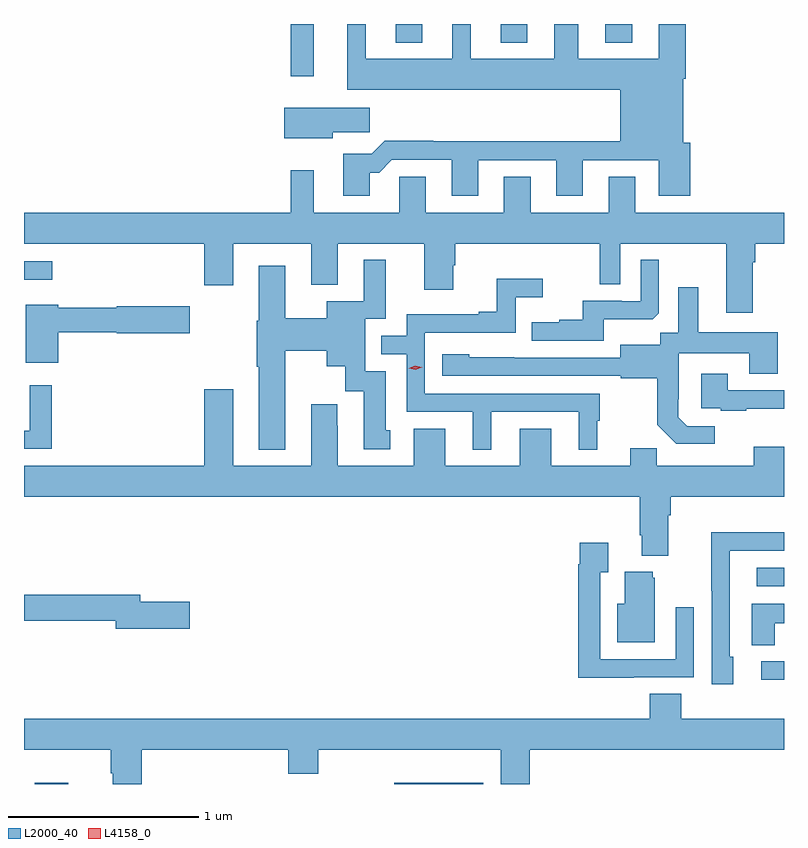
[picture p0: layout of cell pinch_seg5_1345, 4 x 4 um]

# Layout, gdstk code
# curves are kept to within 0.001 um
import gdstk
lib = gdstk.Library(unit=1e-6, precision=1e-09)
def R(c, l, rs):  # rectangles x0, y0, x1, y1
    for r in rs: c.add(gdstk.rectangle(r[:2], r[2:], *l))
def A(c, l, x, y, w, h, nx, ny, dx, dy):  # array of equal rectangles
    R(c, l, [(x+i*dx, y+j*dy, x+i*dx+w, y+j*dy+h) for i in range(nx) for j in range(ny)])
def P(c, l, *ps):  # polygons
    for p in ps: c.add(gdstk.Polygon(p, *l))
L2000_40 = (2000, 40)
L4158_0 = (4158, 0)

pinch_seg5_1345 = lib.new_cell('pinch_seg5_1345')
A(pinch_seg5_1345, L2000_40, 361.067, 903.107, 0.14, 0.098, 3, 1, 0.552, 0)
R(pinch_seg5_1345, L2000_40, [(359.168,899.205,359.344,899.212), (361.059,899.205,361.528,899.212), (362.991,899.753,363.111,899.85), (362.967,900.246,363.111,900.342), (359.111,901.859,359.26,901.956), (360.516,902.931,360.637,903.205)])
P(pinch_seg5_1345, L2000_40, [(360.931,902.423),(360.98,902.423),(361.047,902.49),(361.361,902.49),(361.361,902.301),(361.501,902.301),(361.501,902.487),(361.913,902.487),(361.913,902.301),(362.053,902.301),(362.053,902.487),(362.453,902.487),(362.453,902.301),(362.618,902.301),(362.618,902.58),(362.581,902.58),(362.581,902.918),(362.594,902.918),(362.594,903.205),(362.453,903.205),(362.453,903.022),(362.029,903.022),(362.029,903.205),(361.901,903.205),(361.901,903.022),(361.462,903.022),(361.462,903.205),(361.364,903.205),(361.364,903.022),(360.91,903.022),(360.91,903.205),(360.812,903.205),(360.812,902.858),(362.249,902.858),(362.249,902.588),(361.265,902.588),(361.265,902.591),(361.01,902.591),(360.94,902.521),(360.791,902.521),(360.791,902.301),(360.931,902.301)],
  [(360.736,902.635),(360.931,902.635),(360.931,902.764),(360.482,902.764),(360.482,902.603),(360.736,902.603)],
  [(360.623,901.832),(360.763,901.832),(360.763,902.048),(361.217,902.048),(361.217,901.806),(361.369,901.806),(361.369,901.935),(361.382,901.935),(361.382,902.048),(362.142,902.048),(362.142,901.834),(362.25,901.834),(362.25,902.048),(362.807,902.048),(362.807,901.686),(362.947,901.686),(362.947,901.952),(362.96,901.952),(362.96,902.048),(363.111,902.048),(363.111,902.212),(362.329,902.212),(362.329,902.402),(362.189,902.402),(362.189,902.212),(361.777,902.212),(361.777,902.402),(361.637,902.402),(361.637,902.212),(361.225,902.212),(361.225,902.402),(361.086,902.402),(361.086,902.212),(360.637,902.212),(360.637,902.434),(360.516,902.434),(360.516,902.212),(359.111,902.212),(359.111,902.048),(360.059,902.048),(360.059,901.83),(360.211,901.83),(360.211,902.048),(360.623,902.048)],
  [(360.487,901.484),(360.704,901.484),(360.704,901.403),(360.803,901.403),(360.803,901.272),(360.899,901.272),(360.899,900.966),(361.039,900.966),(361.039,901.068),(361.015,901.068),(361.015,901.377),(360.906,901.377),(360.906,901.653),(361.015,901.653),(361.015,901.963),(360.899,901.963),(360.899,901.747),(360.704,901.747),(360.704,901.656),(360.487,901.656),(360.487,901.933),(360.347,901.933),(360.347,901.644),(360.335,901.644),(360.335,901.4),(360.347,901.4),(360.347,900.965),(360.487,900.965)],
  [(362.161,901.652),(362.419,901.652),(362.451,901.683),(362.451,901.963),(362.358,901.963),(362.358,901.746),(362.258,901.746),(362.258,901.749),(362.051,901.749),(362.051,901.648),(361.927,901.648),(361.927,901.636),(361.783,901.636),(361.783,901.539),(362.161,901.539)],
  [(361.57,901.164),(362.03,901.164),(362.03,900.965),(362.128,900.965),(362.128,901.116),(362.14,901.116),(362.14,901.26),(361.221,901.26),(361.221,901.581),(361.698,901.581),(361.698,901.766),(361.84,901.766),(361.84,901.865),(361.6,901.865),(361.6,901.69),(361.505,901.69),(361.505,901.677),(361.125,901.677),(361.125,901.563),(360.992,901.563),(360.992,901.467),(361.125,901.467),(361.125,901.164),(361.472,901.164),(361.472,900.965),(361.57,900.965)],
  [(362.746,901.089),(362.601,901.089),(362.554,901.136),(362.554,901.231),(362.556,901.231),(362.556,901.472),(362.927,901.472),(362.927,901.363),(363.079,901.363),(363.079,901.582),(362.659,901.582),(362.659,901.819),(362.555,901.819),(362.555,901.58),(362.46,901.58),(362.46,901.516),(362.249,901.516),(362.249,901.449),(361.455,901.45),(361.455,901.468),(361.311,901.468),(361.311,901.353),(362.253,901.353),(362.253,901.341),(362.445,901.341),(362.445,901.095),(362.545,900.995),(362.746,900.995)],
  [(359.29,901.582),(359.598,901.582),(359.598,901.577),(359.983,901.577),(359.983,901.719),(359.598,901.719),(359.598,901.711),(359.29,901.711),(359.29,901.728),(359.121,901.728),(359.121,901.625),(359.12,901.625),(359.12,901.421),(359.29,901.421)],
  [(362.911,901.181),(363.111,901.181),(363.111,901.278),(362.815,901.278),(362.815,901.363),(362.675,901.363),(362.675,901.182),(362.779,901.182),(362.779,901.17),(362.911,901.17)],
  [(359.258,901.303),(359.142,901.303),(359.142,901.065),(359.111,901.065),(359.111,900.969),(359.258,900.969)],
  [(362.503,900.62),(362.516,900.62),(362.516,900.716),(363.111,900.716),(363.111,900.979),(362.951,900.979),(362.951,900.88),(362.441,900.88),(362.441,900.971),(362.303,900.971),(362.303,900.88),(361.885,900.88),(361.885,901.075),(361.721,901.075),(361.721,900.88),(361.327,900.88),(361.327,901.075),(361.163,901.075),(361.163,900.88),(360.763,900.88),(360.763,901.091),(360.76,901.091),(360.76,901.204),(360.623,901.204),(360.623,900.88),(360.211,900.88),(360.211,901.282),(360.059,901.282),(360.059,900.88),(359.111,900.88),(359.111,900.716),(362.351,900.716),(362.351,900.514),(362.363,900.514),(362.363,900.407),(362.503,900.407)],
  [(362.845,899.874),(362.826,899.874),(362.826,900.432),(363.111,900.432),(363.111,900.53),(362.728,900.53),(362.728,900.223),(362.73,900.223),(362.73,899.73),(362.845,899.73)],
  [(362.321,899.766),(362.637,899.766),(362.637,900.136),(362.541,900.136),(362.541,899.862),(362.145,899.862),(362.145,900.319),(362.185,900.319),(362.185,900.475),(362.037,900.475),(362.037,900.362),(362.029,900.362),(362.029,899.765),(362.321,899.765)],
  [(362.431,900.291),(362.42,900.291),(362.42,900.322),(362.273,900.322),(362.273,900.154),(362.234,900.154),(362.234,899.951),(362.431,899.951)],
  [(359.983,900.164),(359.722,900.164),(359.722,900.2),(359.111,900.2),(359.111,900.064),(359.594,900.064),(359.594,900.022),(359.983,900.022)],
  [(363.063,900.05),(363.111,900.05),(363.111,900.154),(362.942,900.154),(362.942,899.935),(363.063,899.935)],
  [(359.111,899.384),(359.567,899.384),(359.567,899.261),(359.579,899.261),(359.579,899.205),(359.732,899.205),(359.732,899.384),(360.503,899.384),(360.503,899.26),(360.659,899.26),(360.659,899.384),(361.619,899.384),(361.619,899.205),(361.772,899.205),(361.772,899.384),(363.111,899.384),(363.111,899.548),(362.57,899.548),(362.57,899.681),(362.405,899.681),(362.405,899.548),(359.111,899.548)])
P(pinch_seg5_1345, L4158_0, [(361.172,901.386),(361.137,901.394),(361.136,901.394),(361.137,901.394),(361.17,901.406),(361.205,901.398),(361.206,901.398),(361.205,901.398)])

lib.write_gds('pinch_seg5_1345.gds')
